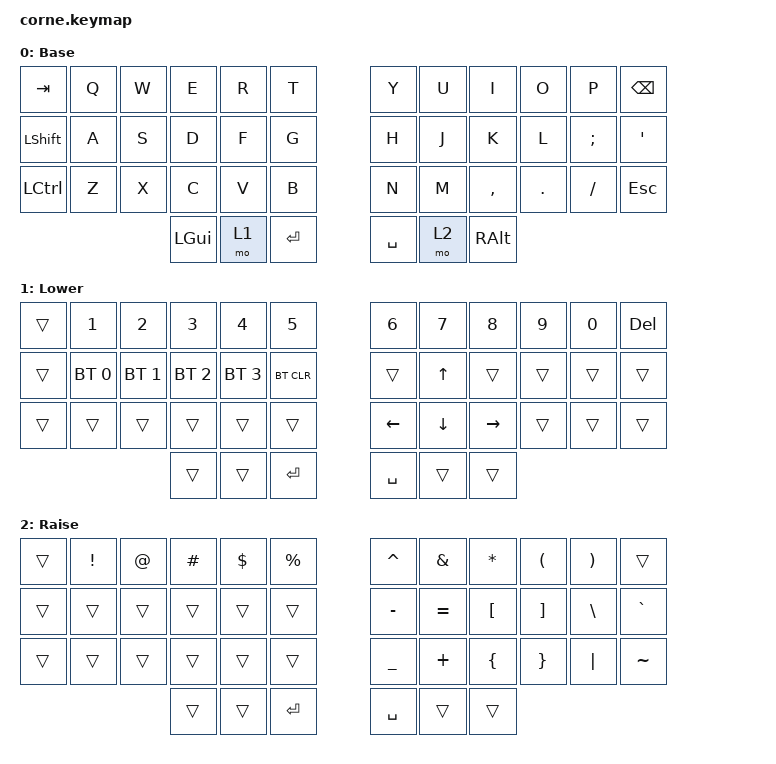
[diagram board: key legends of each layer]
/*
 * Copyright (c) 2020 The ZMK Contributors
 *
 * SPDX-License-Identifier: MIT
 */

#include <behaviors.dtsi>
#include <dt-bindings/zmk/bt.h>
#include <dt-bindings/zmk/keys.h>
#include "zmk-helpers/helper.h"
#include "zmk-helpers/key-labels/36.h"                                      // Source key-labels.

#define KEYS_L LT0 LT1 LT2 LT3 LT4 LM0 LM1 LM2 LM3 LM4 LB0 LB1 LB2 LB3 LB4  // Left-hand keys.
#define KEYS_R RT0 RT1 RT2 RT3 RT4 RM0 RM1 RM2 RM3 RM4 RB0 RB1 RB2 RB3 RB4  // Right-hand keys.
#define THUMBS LH2 LH1 LH0 RH0 RH1 RH2                                      // Thumb keys.

/ {
    behaviors {
        /* Left-hand HRMs. */

        hml: hml {
            compatible = "zmk,behavior-hold-tap";
            label = "HML";
            #binding-cells = <2>;
            flavor = "balanced";
            tapping-term-ms = <280>;
            quick-tap-ms = <175>;
            require-prior-idle-ms = <150>;
            bindings = <&kp>, <&kp>;

            hold-trigger-key-positions = <KEYS_R THUMBS>;
            hold-trigger-on-release;
        };

        /* Right-hand HRMs. */

        hmr: hmr {
            compatible = "zmk,behavior-hold-tap";
            label = "HMR";
            #binding-cells = <2>;
            flavor = "balanced";
            tapping-term-ms = <280>;
            quick-tap-ms = <175>;
            require-prior-idle-ms = <150>;
            bindings = <&kp>, <&kp>;

            hold-trigger-key-positions = <KEYS_L THUMBS>;
            hold-trigger-on-release;
        };
    };

    combos {
        compatible = "zmk,combos";

        par1 {
            bindings = <&kp LEFT_PARENTHESIS>;
            key-positions = <3 4>;
            layers = <0>;
        };

        par2 {
            bindings = <&kp RIGHT_PARENTHESIS>;
            key-positions = <7 8>;
            layers = <0>;
        };

        cur1 {
            bindings = <&kp LEFT_BRACE>;
            key-positions = <27 28>;
            layers = <0>;
        };

        cur2 {
            bindings = <&kp RIGHT_BRACE>;
            key-positions = <31 32>;
            layers = <0>;
        };

        bracket1 {
            bindings = <&kp LEFT_BRACKET>;
            key-positions = <15 16>;
            layers = <0>;
        };

        bracket2 {
            bindings = <&kp RIGHT_BRACKET>;
            key-positions = <20 19>;
            layers = <0>;
        };
    };

    keymap {
        compatible = "zmk,keymap";

        default_layer {
            // -----------------------------------------------------------------------------------------
            // |  TAB |  Q  |  W  |  E  |  R  |  T  |   |  Y  |  U   |  I  |  O  |  P  | BKSP |
            // | CTRL |  A  |  S  |  D  |  F  |  G  |   |  H  |  J   |  K  |  L  |  ;  |  '   |
            // | SHFT |  Z  |  X  |  C  |  V  |  B  |   |  N  |  M   |  ,  |  .  |  /  | ESC  |
            //                     | GUI | LWR | SPC |   | ENT | RSE  | ALT |

            display-name = "Base";
            bindings = <
&kp TAB           &kp Q  &kp W  &kp E     &kp R  &kp T         &kp Y      &kp U  &kp I      &kp O    &kp P     &kp BSPC
&kp LEFT_SHIFT    &kp A  &kp S  &kp D     &kp F  &kp G         &kp H      &kp J  &kp K      &kp L    &kp SEMI  &kp SQT
&kp LEFT_CONTROL  &kp Z  &kp X  &kp C     &kp V  &kp B         &kp N      &kp M  &kp COMMA  &kp DOT  &kp FSLH  &kp ESC
                                &kp LGUI  &mo 1  &kp RETURN    &kp SPACE  &mo 2  &kp RALT
            >;
        };

        lower_layer {
            // -----------------------------------------------------------------------------------------
            // |  TAB |  1  |  2  |  3  |  4  |  5  |   |  6  |  7  |  8  |  9  |  0  | BKSP |
            // | BTCLR| BT1 | BT2 | BT3 | BT4 | BT5 |   | LFT | DWN |  UP | RGT |     |      |
            // | SHFT |     |     |     |     |     |   |     |     |     |     |     |      |
            //                     | GUI |     | SPC |   | ENT |     | ALT |

            display-name = "Lower";
            bindings = <
&trans  &kp N1        &kp N2        &kp N3        &kp N4        &kp N5        &kp N6     &kp N7    &kp N8     &kp N9  &kp N0  &kp DEL
&trans  &bt BT_SEL 0  &bt BT_SEL 1  &bt BT_SEL 2  &bt BT_SEL 3  &bt BT_CLR    &trans     &kp UP    &trans     &trans  &trans  &trans
&trans  &trans        &trans        &trans        &trans        &trans        &kp LEFT   &kp DOWN  &kp RIGHT  &trans  &trans  &trans
                                    &trans        &trans        &kp RET       &kp SPACE  &trans    &trans
            >;
        };

        raise_layer {
            // -----------------------------------------------------------------------------------------
            // |  TAB |  !  |  @  |  #  |  $  |  %  |   |  ^  |  &  |  * |  (  |  )  | BKSP |
            // | CTRL |     |     |     |     |     |   |  -  |  =  |  [  |  ]  |  \  |  `   |
            // | SHFT |     |     |     |     |     |   |  _  |  +  |  {  |  }  | "|" |  ~   |
            //                     | GUI |     | SPC |   | ENT |     | ALT |

            display-name = "Raise";
            bindings = <
&trans  &kp EXCL  &kp AT  &kp HASH  &kp DLLR  &kp PRCNT    &kp CARET  &kp AMPS   &kp ASTERISK  &kp LPAR  &kp RPAR  &trans
&trans  &trans    &trans  &trans    &trans    &trans       &kp MINUS  &kp EQUAL  &kp LBKT      &kp RBKT  &kp BSLH  &kp GRAVE
&trans  &trans    &trans  &trans    &trans    &trans       &kp UNDER  &kp PLUS   &kp LBRC      &kp RBRC  &kp PIPE  &kp TILDE
                          &trans    &trans    &kp RET      &kp SPACE  &trans     &trans
            >;
        };
    };
};
